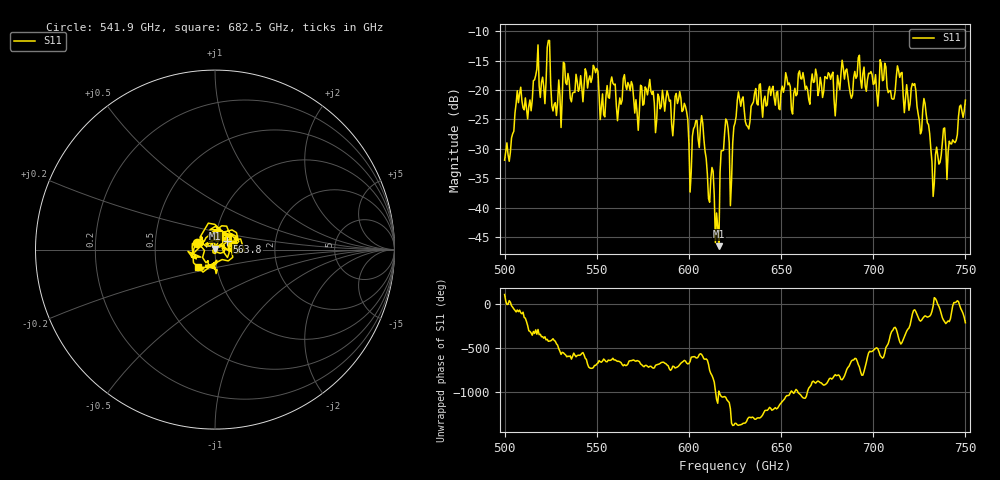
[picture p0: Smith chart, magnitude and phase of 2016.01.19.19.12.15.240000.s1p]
!Created with skrf (http://scikit-rf.org).
# GHz S RI R 50.0
!freq ReS11 ImS11
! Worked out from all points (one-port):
!   401 points, 500 GHz to 750 GHz, reference 50 ohm
!   lowest |S11| = -46.6 dB at 616.2 GHz (marker M1), VSWR 1.01, Z = 50 + j0.467 ohm
!   |S11| at or under -10 dB: start of sweep to end of sweep
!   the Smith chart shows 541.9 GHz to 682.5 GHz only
!   S11 on the Smith chart (normalised r, x): 541.9 GHz: 0.82, +0.06; 563.8 GHz: 1.14, +0.10; 682.5 GHz: 0.81, -0.16
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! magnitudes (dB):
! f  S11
! 500 GHz  -31.9
! 516.9 GHz  -17.5
! 520.6 GHz  -17.8
! 523.8 GHz  -11.5
! 526.9 GHz  -22.5
! 531.2 GHz  -21.4
! 541.9 GHz  -19.5
! 549.4 GHz  -17.0
! 553.1 GHz  -20.6
! 558.8 GHz  -18.8
! 562.5 GHz  -21.3
! 563.8 GHz  -21.7
! 593.8 GHz  -22.3
! 601.2 GHz  -33.9
! 607.5 GHz  -25.6
! 615 GHz  -40.9
! 616.2 GHz  -46.6
! 619.4 GHz  -27.3
! 623.1 GHz  -35.4
! 625 GHz  -25.6
! 656.2 GHz  -24.1
! 682.5 GHz  -17.2
! 687.5 GHz  -20.5
! 714.4 GHz  -17.8
! 718.8 GHz  -20.9
! 728.8 GHz  -24.1
! 732.5 GHz  -38.1
! 750 GHz  -21.7
